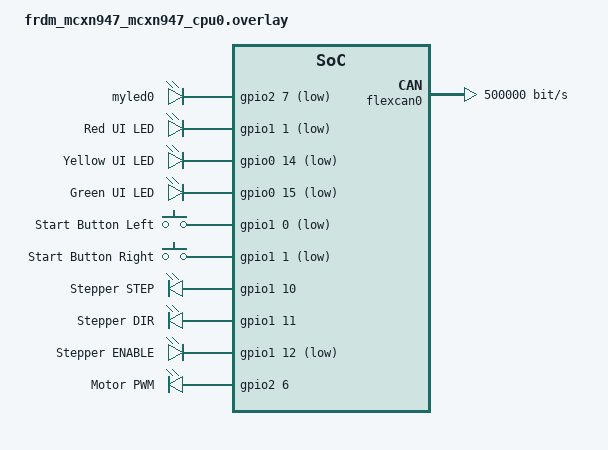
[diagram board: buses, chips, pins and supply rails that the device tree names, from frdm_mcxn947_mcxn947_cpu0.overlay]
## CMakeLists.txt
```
cmake_minimum_required(VERSION 3.22)

set(ZEPHYR_TOOLCHAIN_VARIANT zephyr)

find_package(Zephyr REQUIRED HINTS $ENV{ZEPHYR_BASE})
project(app)

target_sources(app PRIVATE 
    src/main.c
    src/system_states/system_states.c
    src/can_protocol/can_protocol.c
    src/board_roles/board_main.c
    src/board_roles/board_input.c
    src/board_roles/board_output.c
    src/ui/ui.c
    src/stepper/stepper.c
    src/bldc/bldc.c
    )
```

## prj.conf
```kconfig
# Zephyr Kernel Configuration
CONFIG_PRINTK=y
CONFIG_STDOUT_CONSOLE=y

# CAN Bus Support
CONFIG_CAN=y
CONFIG_CAN_INIT_PRIORITY=80

# Message Queue Support (already enabled by default, but explicit)
CONFIG_RING_BUFFER=y

# Threading Support
CONFIG_MULTITHREADING=y
CONFIG_NUM_PREEMPT_PRIORITIES=15

# Stack sizes
CONFIG_MAIN_STACK_SIZE=2048
CONFIG_SYSTEM_WORKQUEUE_STACK_SIZE=2048

# Logging (optional, but useful for debugging)
CONFIG_LOG=y
CONFIG_LOG_MODE_IMMEDIATE=y
CONFIG_LOG_DEFAULT_LEVEL=3

# Assert and debug (optional)
CONFIG_ASSERT=y
CONFIG_DEBUG=y

# GPIO
CONFIG_GPIO=y

# PWM
CONFIG_PWM=y

# Hex
CONFIG_BUILD_OUTPUT_HEX=y
CONFIG_BUILD_OUTPUT_S19=y
```

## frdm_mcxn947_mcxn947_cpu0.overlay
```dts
/*
 * Device Tree Overlay for FRDM-MCXN947
 */

/ {
    chosen {
        zephyr,canbus = &flexcan0;
    };

    aliases {
        led-red = &red_ui_led;
        led-yellow = &yellow_ui_led;
        led-green = &green_ui_led;
        btn-start-left = &start_button_left;
        btn-start-right = &start_button_right;
        stepper-step = &stepper_step_pin;
        stepper-dir = &stepper_dir_pin;
        stepper-enable = &stepper_enable_pin;
        led0 = &myled0;
        motor-pwm-pin = &motor_pwm_gpio;
    };

    leds {
        compatible = "gpio-leds";
        myled0: led_0 {
            gpios = <&gpio2 7 GPIO_ACTIVE_LOW>;
        };
        red_ui_led: led_3 {
            gpios = <&gpio1 1 GPIO_ACTIVE_LOW>;
            label = "Red UI LED";
        };
        yellow_ui_led: led_1 {
            gpios = <&gpio0 14 GPIO_ACTIVE_LOW>;
            label = "Yellow UI LED";
        };
        green_ui_led: led_2 {
            gpios = <&gpio0 15 GPIO_ACTIVE_LOW>;
            label = "Green UI LED";
        };
    };

    buttons {
        compatible = "gpio-keys";
        start_button_left: button_0 {
            gpios = <&gpio1 0 (GPIO_PULL_UP | GPIO_ACTIVE_LOW)>;
            label = "Start Button Left";
        };
        start_button_right: button_1 {
            gpios = <&gpio1 1 (GPIO_PULL_UP | GPIO_ACTIVE_LOW)>;
            label = "Start Button Right";
        };
    };

    stepper_pins {
        compatible = "gpio-leds";
        stepper_step_pin: step {
            gpios = <&gpio1 10 GPIO_ACTIVE_HIGH>;
            label = "Stepper STEP";
        };
        stepper_dir_pin: dir {
            gpios = <&gpio1 11 GPIO_ACTIVE_HIGH>;
            label = "Stepper DIR";
        };
        stepper_enable_pin: enable {
            gpios = <&gpio1 12 GPIO_ACTIVE_LOW>;
            label = "Stepper ENABLE";
        };
    };

    motor_gpio {
        compatible = "gpio-leds";
        motor_pwm_gpio: motor_pwm {
            gpios = <&gpio2 6 GPIO_ACTIVE_HIGH>;
            label = "Motor PWM";
        };
    };
};

&flexcan0 {
    compatible = "nxp,flexcan-fd", "nxp,flexcan";
    status = "okay";
    clk-source = <0>;
    
    bitrate = <500000>;
    sample-point = <875>;
    
    bitrate-data = <2000000>;
    sample-point-data = <875>;
    
    can-transceiver {
        max-bitrate = <5000000>;
    };
};

/* Enable GPIO controllers */
&gpio0 {
    status = "okay";
};

&gpio1 {
    status = "okay";
};

&gpio2 {
    status = "okay";
};
```

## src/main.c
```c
#include <zephyr/kernel.h>
#include <string.h>
#include "can_protocol/can_protocol.h"
#include "board_roles/board_logic.h"
#include "system_states/system_states.h"
#include "ui/ui.h"
#include "stepper/stepper.h"
#include "bldc/bldc.h"

/**
 * Thread definitions
 */

// Thread stack size / priority 
#define CAN_THREAD_STACK_SIZE 2048
#define CAN_THREAD_PRIORITY 5

#define STATE_MACHINE_THREAD_STACK_SIZE 2048
#define STATE_MACHINE_THREAD_PRIORITY 6  

#define UI_THREAD_STACK_SIZE 1024
#define UI_THREAD_PRIORITY 7

#define STEPPER_THREAD_STACK_SIZE 2048
#define STEPPER_THREAD_PRIORITY 5

#define MOTOR_PWM_THREAD_STACK_SIZE 1024
#define MOTOR_PWM_THREAD_PRIORITY 4  /* High priority for accurate PWM */

// Thread stack allocation
K_THREAD_STACK_DEFINE(can_thread_stack, CAN_THREAD_STACK_SIZE);
static struct k_thread can_thread_data;

K_THREAD_STACK_DEFINE(state_machine_thread_stack, STATE_MACHINE_THREAD_STACK_SIZE);
static struct k_thread state_machine_thread_data;

K_THREAD_STACK_DEFINE(ui_thread_stack, UI_THREAD_STACK_SIZE);
static struct k_thread ui_thread_data;

K_THREAD_STACK_DEFINE(stepper_thread_stack, STEPPER_THREAD_STACK_SIZE);
static struct k_thread stepper_thread_data;

K_THREAD_STACK_DEFINE(motor_pwm_thread_stack, MOTOR_PWM_THREAD_STACK_SIZE);
static struct k_thread motor_pwm_thread_data;

// Determine node role from build-time configuration
//can_node_id_t node_role = NODE_INPUT;
can_node_id_t node_role = NODE_MAIN;

#define LED0_NODE DT_ALIAS(led0)
static const struct gpio_dt_spec led = GPIO_DT_SPEC_GET(LED0_NODE, gpios);

/**
 * CAN message handler thread
 * Blocks waiting for CAN messages and processes them
 */
void can_handler_thread(void *arg1, void *arg2, void *arg3)
{
    ARG_UNUSED(arg1);
    ARG_UNUSED(arg2);
    ARG_UNUSED(arg3);

    can_packet_t packet;

    printk("CAN handler thread started\n");

    while (1)
    {   
        // Block waiting for CAN message (forever timeout)
        int ret = can_protocol_receive(&packet, K_FOREVER);

        if (ret != 0)
        {
            printk("CAN receive error: %d\n", ret);
            continue;
        }

        // Message received - process based on type
        printk("Received CAN message: type=0x%02x, sub_id=0x%02x\n",
               packet.msg_type, packet.sub_id);

        switch (packet.msg_type)
        {
        case MSG_MOTOR_CMD:
            printk("Motor command received\n");
            // TODO: Handle motor command
            break;

        case MSG_MOTOR_STATUS:
            printk("Motor status received\n");
            // TODO: Handle motor status
            break;

        case MSG_EMERGENCY_STOP:
            printk("EMERGENCY STOP received!\n");
            // TODO: Handle emergency stop
            break;

        case MSG_HEARTBEAT:
            printk("Heartbeat received\n");
            // TODO: Handle heartbeat
            break;

        case MSG_ERROR:
            printk("Error message received\n");
            // TODO: Handle error
            break;

        case MSG_SYSTEM_STATUS:
            printk("System status received\n");
            // TODO: Handle system status
            break;
        case MSG_STATE_CHANGE:
            handle_state_change_message(&packet);
            break;
        default:
            printk("Unknown message type: 0x%02x\n", packet.msg_type);
            break;
        }
    }
}

/**
 * State Machine Thread
 * Executes board roles based on respective board
 */
void state_machine_thread_entry(void *p1, void *p2, void *p3)
{
    ARG_UNUSED(p1);
    ARG_UNUSED(p2);
    ARG_UNUSED(p3);

    printk("State machine thread started (Node: %d)\n", node_role);

    while (1) {
        // Each board runs its own state machine logic
        switch (node_role) {
            case NODE_MAIN:
                handle_main_board_logic();
                break;
                
            case NODE_INPUT:
                handle_input_board_logic();
                break;
                
            case NODE_OUTPUT:
                handle_output_board_logic();
                break;
            case NODE_BROADCAST:
                // Do nothing, should never reach this case
                break;
        }
        
        k_sleep(K_MSEC(100));  // 10Hz update rate
    }
}

static void ui_monitor_thread(void *p1, void *p2, void *p3)
{
    ARG_UNUSED(p1);
    ARG_UNUSED(p2);
    ARG_UNUSED(p3);

    while (1) {
        // Monitor system state for errors
        if (g_system_state == STATE_ERROR) {
            if (ui_get_state() != ERROR) {
                ui_set_state(ERROR);
            }
        }
        
        k_sleep(K_MSEC(100));
    }
}

/**
 * Send a heartbeat message (example function)
 */
void send_heartbeat(void)
{
    can_packet_t packet;
    packet.msg_type = MSG_HEARTBEAT;
    packet.sub_id = 0;
    memset(packet.payload, 0, sizeof(packet.payload));

    int ret = can_protocol_send(7, NODE_BROADCAST, &packet);

    if (ret == 0)
    {
        printk("Heartbeat sent OK\n");
    }
    else
    {
        printk("Heartbeat send FAILED: %d\n", ret);
    }
}



// # Build for board
// west build -b frdm_mcxn947/mcxn947/cpu0 -p always
// west flash

int main(void)
{
    printk("\n=== Entered Main ===\n");
    printk("Initializing as node: %d\n", node_role);

    // Initialize CAN protocol
    int ret = can_protocol_init(node_role);
    if (ret != 0) {
        printk("Failed to initialize CAN protocol: %d\n", ret);
        return ret;
    }
    printk("CAN protocol initialized successfully\n");

    // Initialize stepper motor
    ret = stepper_init();
    if (ret != 0) {
        printk("Failed to initialize stepper: %d\n", ret);
        return ret;
    }
    printk("Stepper motor initialized successfully\n");

    // Initialize UI subsystem (IMPORTANT - was missing!)
    ret = ui_init();
    if (ret != 0) {
        printk("Failed to initialize UI: %d\n", ret);
        return ret;
    }
    printk("UI initialized successfully\n");

    // Initialize BLDC motor
    ret = motor_init();
    if (ret != 0) {
        printk("Failed to initialize motor: %d\n", ret);
        return ret;
    }
    printk("BLDC motor initialized successfully\n");

    ret = motor_init();
    if (ret != 0) {
        printk("Failed to initialize motor: %d\n", ret);
        return ret;
    }
    printk("BLDC motor initialized successfully\n");
    
    // Create BLDC handler thread
    k_tid_t motor_pwm_tid = k_thread_create(
        &motor_pwm_thread_data,
        motor_pwm_thread_stack,
        K_THREAD_STACK_SIZEOF(motor_pwm_thread_stack),
        motor_pwm_thread_entry,
        NULL, NULL, NULL,
        MOTOR_PWM_THREAD_PRIORITY,
        0,
        K_NO_WAIT);
    
    k_thread_name_set(motor_pwm_tid, "motor_pwm");
    printk("Motor PWM thread created\n");

    // Create CAN handler thread
    k_tid_t can_tid = k_thread_create(
        &can_thread_data, can_thread_stack,
        K_THREAD_STACK_SIZEOF(can_thread_stack),
        can_handler_thread, NULL, NULL, NULL,
        CAN_THREAD_PRIORITY, 0, K_NO_WAIT);
    k_thread_name_set(can_tid, "can_handler");
    printk("CAN handler thread created\n");

    // Spawn state machine thread
    k_tid_t state_machine_tid = k_thread_create(
        &state_machine_thread_data, state_machine_thread_stack,
        K_THREAD_STACK_SIZEOF(state_machine_thread_stack),
        state_machine_thread_entry, NULL, NULL, NULL,
        STATE_MACHINE_THREAD_PRIORITY, 0, K_NO_WAIT);
    k_thread_name_set(state_machine_tid, "state_machine");
    printk("State machine thread created\n");

    // Spawn UI monitoring thread
    k_tid_t ui_tid = k_thread_create(
        &ui_thread_data, ui_thread_stack,
        K_THREAD_STACK_SIZEOF(ui_thread_stack),
        ui_monitor_thread, NULL, NULL, NULL,
        UI_THREAD_PRIORITY, 0, K_NO_WAIT);
    k_thread_name_set(ui_tid, "ui_monitor");
    printk("UI thread created\n");

    // Spawn stepper motor thread
    k_tid_t stepper_tid = k_thread_create(
        &stepper_thread_data, stepper_thread_stack,
        K_THREAD_STACK_SIZEOF(stepper_thread_stack),
        stepper_thread_entry, NULL, NULL, NULL,
        STEPPER_THREAD_PRIORITY, 0, K_NO_WAIT);
    k_thread_name_set(stepper_tid, "stepper");
    printk("Stepper thread created\n");

    // Setup LED for testing
    int ret1;
    bool led_state = true;

    if (!gpio_is_ready_dt(&led)) {
        printk("LED GPIO not ready\n");
        return 0;
    }

    ret1 = gpio_pin_configure_dt(&led, GPIO_OUTPUT_ACTIVE);
    if (ret1 < 0) {
        printk("Failed to configure LED\n");
        return 0;
    }

    // Test motor at 50% speed
    printk("Starting motor test at 50%% speed\n");
    motor_set_speed(50);

    // Main loop - blink LED
    while (1) {
        ret1 = gpio_pin_toggle_dt(&led);
        if (ret1 < 0) {
            return 0;
        }
        led_state = !led_state;
        printk("LED state: %s\n", led_state ? "ON" : "OFF");
        k_msleep(2000);
    }

    return 0;
}
```
